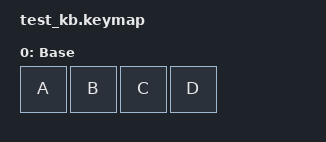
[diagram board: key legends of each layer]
#include <behaviors.dtsi>
#include <dt-bindings/zmk/keys.h>

/ {
    keymap {
        compatible = "zmk,keymap";

        default_layer {
            display-name = "Base";
            bindings = <
                &kp A &kp B &kp C &kp D
            >;
        };
    };
};
